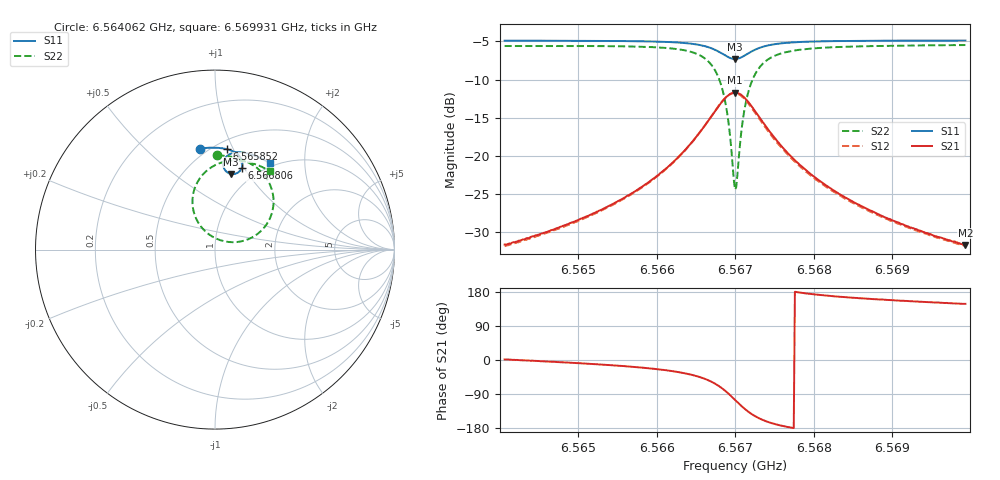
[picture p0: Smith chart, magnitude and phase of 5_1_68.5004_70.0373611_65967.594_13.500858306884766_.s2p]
#  HZ  S  RI  R  50.00
! Rohde & Schwarz Vector Network Analyzer
! Rohde-Schwarz,ZNB20-2Port,1311601062101988,3.16
! Created: UTC 3/20/2024, 5:03:55 PM
! freq[Hz]  re:S11  im:S11  re:S21  im:S21  re:S12  im:S12  re:S22  im:S22
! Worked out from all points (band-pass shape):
!   401 points, 6.564062 GHz to 6.569931 GHz, reference 50 ohm
!   highest |S21| = -11.71 dB at 6.566997 GHz (marker M1); lowest = -31.7 dB at 6.569931 GHz (marker M2)
!   |S21| within 3 dB of the highest: 6.566705 GHz to 6.567291 GHz (585.8 kHz wide, 0.00892 % of centre)
!   lowest |S11| = -7.3 dB at 6.566997 GHz (marker M3), VSWR 2.51, Z = 40.4 + j41.8 ohm
!   |S11| at or under -10 dB: nowhere
!   |S22| runs from -24.4 to -5.5 dB; largest |S21 - S12| = 0.012
!   S11 on the Smith chart (normalised r, x): 6.564062 GHz: 0.45, +0.75; 6.565852 GHz: 0.58, +0.94; 6.566806 GHz: 0.83, +0.97; 6.569931 GHz: 0.94, +1.35
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6.5640624e9  -0.0853 0.5625  0.0261 0.000704  0.0255 0.000145  0.0134 0.5246
6.5650454e9  -0.0061 0.5679  0.0383 -0.00598  0.0375 -0.00639  0.1028 0.5147
6.5658524e9  0.0662 0.5595  0.0604 -0.0231  0.0593 -0.0237  0.1983 0.4788
6.5660285e9  0.0839 0.5542  0.0684 -0.0316  0.0673 -0.0324  0.2252 0.4615
6.5663513e9  0.1194 0.5366  0.0883 -0.0614  0.0869 -0.0625  0.2834 0.4027
6.5665714e9  0.144 0.5099  0.1012 -0.1072  0.099 -0.1092  0.3215 0.3142
6.5667034e9  0.1531 0.4822  0.0971 -0.1557  0.0935 -0.1585  0.3214 0.2215
6.5668061e9  0.1483 0.4531  0.0716 -0.2054  0.0655 -0.2082  0.2781 0.128
6.5668942e9  0.1285 0.4295  0.0208 -0.244  0.0115 -0.2446  0.1859 0.0582
6.5669822e9  0.0944 0.4208  -0.0548 -0.2534  -0.0652 -0.2493  0.0512 0.0464
6.5669969e9  0.0883 0.4217  -0.068 -0.2508  -0.0781 -0.2455  0.0285 0.0528
6.5670262e9  0.0765 0.4257  -0.093 -0.2412  -0.1023 -0.2342  -0.0143 0.0722
6.5670849e9  0.0578 0.4403  -0.1337 -0.21  -0.1403 -0.2006  -0.0809 0.1319
6.5671289e9  0.0494 0.4549  -0.1536 -0.1806  -0.1577 -0.1707  -0.1105 0.1853
6.5671876e9  0.0456 0.4749  -0.1663 -0.1411  -0.1675 -0.1316  -0.1254 0.2555
6.567261e9  0.0496 0.4963  -0.1662 -0.099  -0.1651 -0.0911  -0.117 0.3286
6.5673784e9  0.0655 0.5196  -0.1496 -0.0528  -0.1471 -0.0473  -0.0776 0.4066
6.5675251e9  0.0887 0.5346  -0.1245 -0.0215  -0.1219 -0.018  -0.0222 0.4572
6.5679799e9  0.1473 0.5421  -0.0739 0.0079  -0.0723 0.00906  0.0975 0.4962
6.5684201e9  0.1902 0.5341  -0.0509 0.0132  -0.0496 0.0137  0.1664 0.4919
6.568963e9  0.2352 0.5186  -0.0357 0.0143  -0.0348 0.0145  0.2266 0.4754
6.5699314e9  0.3048 0.4828  -0.022 0.0137  -0.0215 0.0138  0.3065 0.4357
